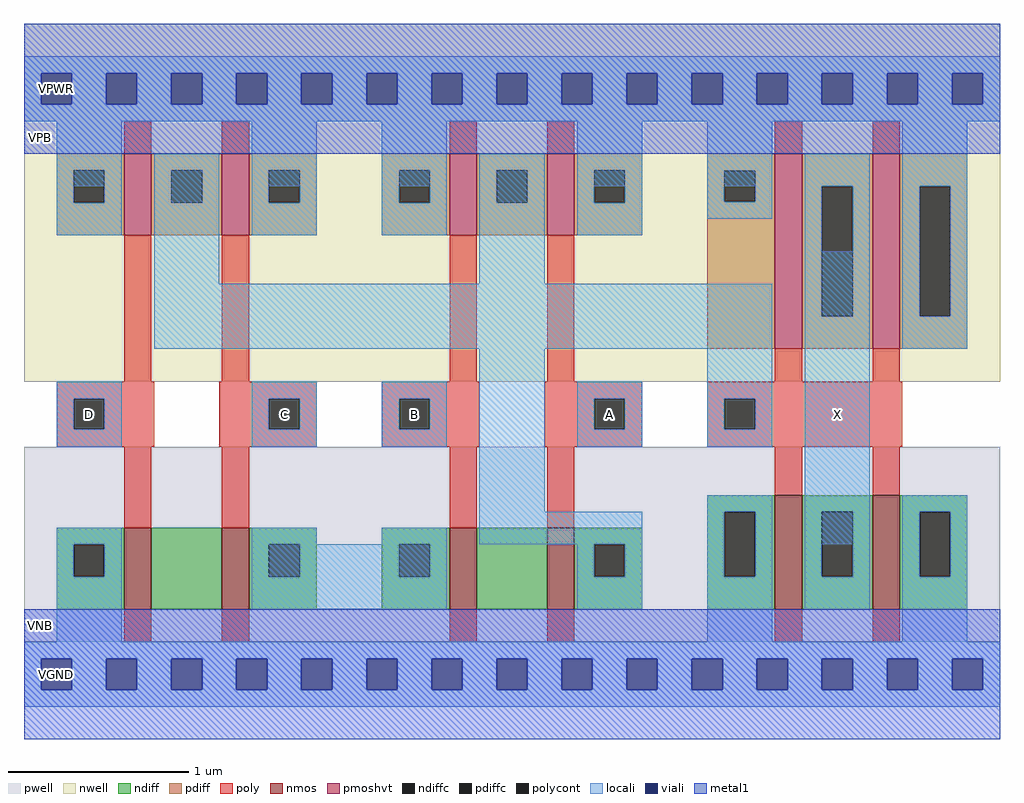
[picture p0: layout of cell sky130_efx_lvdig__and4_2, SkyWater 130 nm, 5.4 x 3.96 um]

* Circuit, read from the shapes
.subckt sky130_efx_lvdig__and4_2 D C B A X VGND VPWR VPB VNB
XM1 n1 D VGND VNB sky130_fd_pr__nfet_01v8 w=0.45 l=0.15
XM2 n2 C n1 VNB sky130_fd_pr__nfet_01v8 w=0.45 l=0.15
XM3 n3 B n2 VNB sky130_fd_pr__nfet_01v8 w=0.45 l=0.15
XM4 n4 A n3 VNB sky130_fd_pr__nfet_01v8 w=0.45 l=0.15
XM5 X n4 VGND VNB sky130_fd_pr__nfet_01v8 w=0.63 l=0.15 m=2
XM6 n4 D VPWR VPB sky130_fd_pr__pfet_01v8_hvt w=0.45 l=0.15
XM7 VPWR C n4 VPB sky130_fd_pr__pfet_01v8_hvt w=0.45 l=0.15
XM8 n4 B VPWR VPB sky130_fd_pr__pfet_01v8_hvt w=0.45 l=0.15
XM9 VPWR A n4 VPB sky130_fd_pr__pfet_01v8_hvt w=0.45 l=0.15
XM10 X n4 VPWR VPB sky130_fd_pr__pfet_01v8_hvt w=1.08 l=0.15 m=2
.ends

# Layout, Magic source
magic
tech sky130A
magscale 1 2
<< nwell >>
rect 0 288 1080 684
<< pwell >>
rect 0 0 1080 216
<< poly >>
rect 36 269 144 288
rect 36 235 55 269
rect 89 235 144 269
rect 36 216 144 235
rect 216 269 324 288
rect 216 235 271 269
rect 305 235 324 269
rect 216 216 324 235
rect 396 269 504 288
rect 396 235 415 269
rect 449 235 504 269
rect 396 216 504 235
rect 576 269 684 288
rect 576 235 631 269
rect 665 235 684 269
rect 576 216 684 235
rect 756 269 972 288
rect 756 235 775 269
rect 809 235 972 269
rect 756 216 972 235
<< polycont >>
rect 55 235 89 269
rect 271 235 305 269
rect 415 235 449 269
rect 631 235 665 269
rect 775 235 809 269
<< locali >>
rect 0 629 1080 648
rect 0 595 19 629
rect 53 595 91 629
rect 125 595 163 629
rect 197 595 235 629
rect 269 595 307 629
rect 341 595 379 629
rect 413 595 451 629
rect 485 595 523 629
rect 557 595 595 629
rect 629 595 667 629
rect 701 595 739 629
rect 773 595 811 629
rect 845 595 883 629
rect 917 595 955 629
rect 989 595 1027 629
rect 1061 595 1080 629
rect 0 576 1080 595
rect 36 504 108 576
rect 144 396 216 540
rect 252 504 324 576
rect 396 504 468 576
rect 504 396 576 540
rect 612 504 684 576
rect 756 504 828 576
rect 972 504 1044 576
rect 144 324 828 396
rect 36 269 108 288
rect 36 235 55 269
rect 89 235 108 269
rect 36 216 108 235
rect 252 269 324 288
rect 252 235 271 269
rect 305 235 324 269
rect 252 216 324 235
rect 396 269 468 288
rect 396 235 415 269
rect 449 235 468 269
rect 396 216 468 235
rect 504 144 576 324
rect 612 269 684 288
rect 612 235 631 269
rect 665 235 684 269
rect 612 216 684 235
rect 756 269 828 324
rect 756 235 775 269
rect 809 235 828 269
rect 756 216 828 235
rect 504 108 684 144
rect 864 108 936 432
rect 36 0 108 72
rect 252 36 468 108
rect 756 0 828 72
rect 972 0 1044 72
rect 0 -19 1080 0
rect 0 -53 19 -19
rect 53 -53 91 -19
rect 125 -53 163 -19
rect 197 -53 235 -19
rect 269 -53 307 -19
rect 341 -53 379 -19
rect 413 -53 451 -19
rect 485 -53 523 -19
rect 557 -53 595 -19
rect 629 -53 667 -19
rect 701 -53 739 -19
rect 773 -53 811 -19
rect 845 -53 883 -19
rect 917 -53 955 -19
rect 989 -53 1027 -19
rect 1061 -53 1080 -19
rect 0 -72 1080 -53
<< viali >>
rect 19 595 53 629
rect 91 595 125 629
rect 163 595 197 629
rect 235 595 269 629
rect 307 595 341 629
rect 379 595 413 629
rect 451 595 485 629
rect 523 595 557 629
rect 595 595 629 629
rect 667 595 701 629
rect 739 595 773 629
rect 811 595 845 629
rect 883 595 917 629
rect 955 595 989 629
rect 1027 595 1061 629
rect 19 -53 53 -19
rect 91 -53 125 -19
rect 163 -53 197 -19
rect 235 -53 269 -19
rect 307 -53 341 -19
rect 379 -53 413 -19
rect 451 -53 485 -19
rect 523 -53 557 -19
rect 595 -53 629 -19
rect 667 -53 701 -19
rect 739 -53 773 -19
rect 811 -53 845 -19
rect 883 -53 917 -19
rect 955 -53 989 -19
rect 1027 -53 1061 -19
<< metal1 >>
rect 0 629 1080 684
rect 0 595 19 629
rect 53 595 91 629
rect 125 595 163 629
rect 197 595 235 629
rect 269 595 307 629
rect 341 595 379 629
rect 413 595 451 629
rect 485 595 523 629
rect 557 595 595 629
rect 629 595 667 629
rect 701 595 739 629
rect 773 595 811 629
rect 845 595 883 629
rect 917 595 955 629
rect 989 595 1027 629
rect 1061 595 1080 629
rect 0 540 1080 595
rect 0 -19 1080 36
rect 0 -53 19 -19
rect 53 -53 91 -19
rect 125 -53 163 -19
rect 197 -53 235 -19
rect 269 -53 307 -19
rect 341 -53 379 -19
rect 413 -53 451 -19
rect 485 -53 523 -19
rect 557 -53 595 -19
rect 629 -53 667 -19
rect 701 -53 739 -19
rect 773 -53 811 -19
rect 845 -53 883 -19
rect 917 -53 955 -19
rect 989 -53 1027 -19
rect 1061 -53 1080 -19
rect 0 -108 1080 -53
use nmos_n2f5_f2_l150_fnf  nmos_n2f5_f2_l150_fnf_0
transform 1 0 72 0 1 36
box -72 -36 288 180
use nmos_n2f5_f2_l150_fnf  nmos_n2f5_f2_l150_fnf_1
transform 1 0 432 0 1 36
box -72 -36 288 180
use nmos_n3f5_f1_l150  nmos_n3f5_f1_l150_0
transform 1 0 792 0 1 36
box -72 -36 180 180
use nmos_n3f5_f1_l150  nmos_n3f5_f1_l150_1
transform 1 0 900 0 1 36
box -72 -36 180 180
use pmos_n2f5_f2_l150_hvt_fff  pmos_n2f5_f2_l150_hvt_fff_0
transform 1 0 72 0 1 450
box -72 -162 288 126
use pmos_n2f5_f2_l150_hvt_fff  pmos_n2f5_f2_l150_hvt_fff_1
transform 1 0 432 0 1 450
box -72 -162 288 126
use pmos_n6_f1_l150_hvt  pmos_n6_f1_l150_hvt_0
transform 1 0 900 0 1 324
box -72 -36 180 252
use pmos_n6_f1_l150_hvt_tf  pmos_n6_f1_l150_hvt_tf_0
transform 1 0 792 0 1 324
box -72 -36 180 252
<< labels >>
flabel locali 36 216 108 288 0 FreeSans 288 0 0 0 D
port 1 nsew signal input
flabel locali 252 216 324 288 0 FreeSans 288 0 0 0 C
port 2 nsew signal input
flabel locali 396 216 468 288 0 FreeSans 288 0 0 0 B
port 3 nsew signal input
flabel locali 612 216 684 288 0 FreeSans 288 0 0 0 A
port 4 nsew signal input
flabel locali 864 216 936 288 0 FreeSans 288 0 0 0 X
port 5 nsew signal output
flabel metal1 0 -72 72 0 0 FreeSans 288 0 0 0 VGND
port 6 nsew ground bidirectional
flabel metal1 0 576 72 648 0 FreeSans 288 0 0 0 VPWR
port 7 nsew power bidirectional
flabel nwell 0 540 36 576 0 FreeSans 288 0 0 0 VPB
port 8 nsew power bidirectional
flabel pwell 0 0 36 36 0 FreeSans 288 0 0 0 VNB
port 9 nsew ground bidirectional
<< properties >>
string FIXED_BBOX 0 -36 1080 612
<< end >>

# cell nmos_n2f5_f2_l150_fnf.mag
magic
tech sky130A
magscale 1 2
<< pwell >>
rect -72 -36 288 180
<< nmos >>
rect 39 0 69 90
rect 147 0 177 90
<< ndiff >>
rect -36 72 39 90
rect -36 36 -17 72
rect 17 36 39 72
rect -36 0 39 36
rect 69 0 147 90
rect 177 72 252 90
rect 177 36 199 72
rect 233 36 252 72
rect 177 0 252 36
<< ndiffc >>
rect -17 36 17 72
rect 199 36 233 72
<< poly >>
rect 39 90 69 180
rect 147 90 177 180
rect 39 -36 69 0
rect 147 -36 177 0
<< locali >>
rect -36 72 36 90
rect -36 36 -17 72
rect 17 36 36 72
rect -36 0 36 36
rect 180 72 252 90
rect 180 36 199 72
rect 233 36 252 72
rect 180 0 252 36
<< end >>

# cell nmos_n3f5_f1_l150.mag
magic
tech sky130A
magscale 1 2
<< pwell >>
rect -72 -36 180 180
<< nmos >>
rect 39 0 69 126
<< ndiff >>
rect -36 108 39 126
rect -36 36 -17 108
rect 17 36 39 108
rect -36 0 39 36
rect 69 108 144 126
rect 69 36 91 108
rect 125 36 144 108
rect 69 0 144 36
<< ndiffc >>
rect -17 36 17 108
rect 91 36 125 108
<< poly >>
rect 39 126 69 180
rect 39 -36 69 0
<< locali >>
rect -36 108 36 126
rect -36 36 -17 108
rect 17 36 36 108
rect -36 0 36 36
rect 72 108 144 126
rect 72 36 91 108
rect 125 36 144 108
rect 72 0 144 36
<< labels >>
rlabel locali 0 18 0 18 0 S0
port 1 nsew
rlabel locali 108 18 108 18 0 D0
port 2 nsew
<< end >>

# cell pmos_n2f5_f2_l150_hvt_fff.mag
magic
tech sky130A
magscale 1 2
<< nwell >>
rect -72 -162 288 126
<< pmoshvt >>
rect 39 0 69 90
rect 147 0 177 90
<< pdiff >>
rect -36 72 39 90
rect -36 36 -17 72
rect 17 36 39 72
rect -36 0 39 36
rect 69 72 147 90
rect 69 36 91 72
rect 125 36 147 72
rect 69 0 147 36
rect 177 72 252 90
rect 177 36 199 72
rect 233 36 252 72
rect 177 0 252 36
<< pdiffc >>
rect -17 36 17 72
rect 91 36 125 72
rect 199 36 233 72
<< poly >>
rect 39 90 69 126
rect 147 90 177 126
rect 39 -162 69 0
rect 147 -162 177 0
<< locali >>
rect -36 72 36 90
rect -36 36 -17 72
rect 17 36 36 72
rect -36 0 36 36
rect 72 72 144 90
rect 72 36 91 72
rect 125 36 144 72
rect 72 0 144 36
rect 180 72 252 90
rect 180 36 199 72
rect 233 36 252 72
rect 180 0 252 36
<< end >>

# cell pmos_n6_f1_l150_hvt: kit device pmos, n 6 fingers 1 length 0.15 butted 0 ltap 0 rtap 0 vt hvt tgate 0 bgate 0

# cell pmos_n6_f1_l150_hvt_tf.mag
magic
tech sky130A
magscale 1 2
<< nwell >>
rect -72 -36 180 252
<< pmoshvt >>
rect 39 0 69 216
<< pdiff >>
rect -36 197 39 216
rect -36 163 -17 197
rect 17 163 39 197
rect -36 0 39 163
rect 69 180 144 216
rect 69 36 91 180
rect 125 36 144 180
rect 69 0 144 36
<< pdiffc >>
rect -17 163 17 197
rect 91 36 125 180
<< poly >>
rect 39 216 69 252
rect 39 -36 69 0
<< locali >>
rect -36 197 36 216
rect -36 163 -17 197
rect 17 163 36 197
rect -36 144 36 163
rect 72 180 144 216
rect 72 36 91 180
rect 125 36 144 180
rect 72 0 144 36
<< end >>
